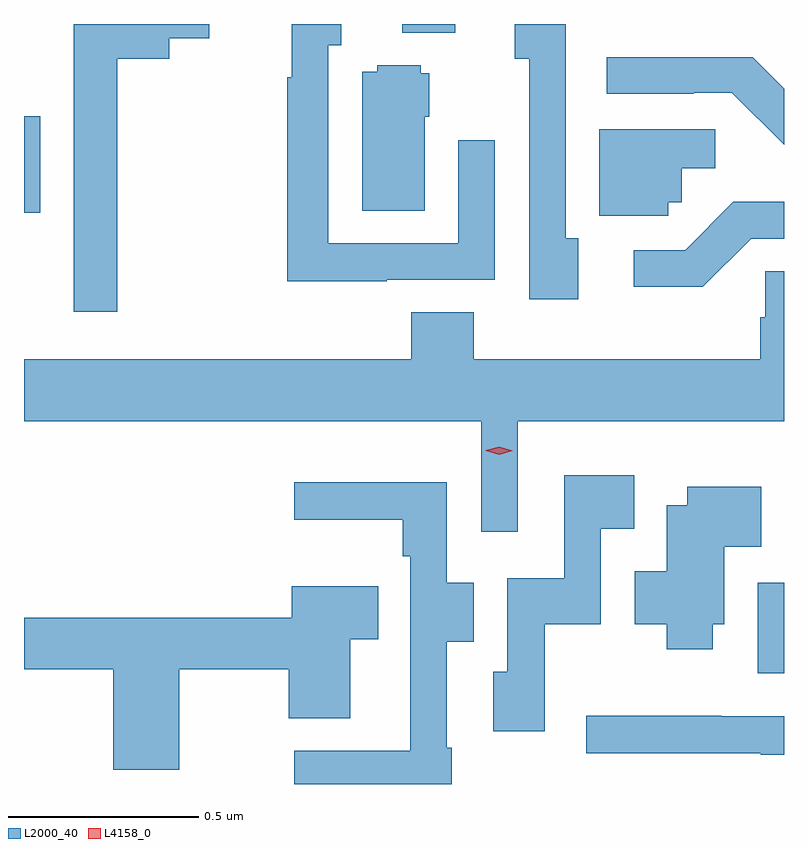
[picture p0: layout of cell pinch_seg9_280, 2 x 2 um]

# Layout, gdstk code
import gdstk
lib = gdstk.Library(unit=1e-6, precision=1e-09)
def R(c, l, rs):  # rectangles x0, y0, x1, y1
    for r in rs: c.add(gdstk.rectangle(r[:2], r[2:], *l))
def P(c, l, *ps):  # polygons
    for p in ps: c.add(gdstk.Polygon(p, *l))
L2000_40 = (2000, 40)
L4158_0 = (4158, 0)

pinch_seg9_280 = lib.new_cell('pinch_seg9_280')
R(pinch_seg9_280, L2000_40, [(412.343,1167.785,412.412,1168.024), (410.412,1168.997,410.455,1169.251), (411.407,1169.471,411.547,1169.494)])
P(pinch_seg9_280, L2000_40, [(411.871,1168.93),(411.837,1168.93),(411.837,1169.494),(411.704,1169.494),(411.704,1169.402),(411.741,1169.402),(411.741,1168.77),(411.871,1168.77)],
  [(410.657,1169.402),(410.794,1169.402),(410.794,1169.456),(410.899,1169.456),(410.899,1169.494),(410.543,1169.494),(410.543,1168.737),(410.657,1168.737)],
  [(411.367,1168.821),(411.651,1168.821),(411.651,1169.188),(411.555,1169.188),(411.555,1168.917),(411.213,1168.917),(411.213,1169.438),(411.247,1169.438),(411.247,1169.494),(411.116,1169.494),(411.116,1169.354),(411.105,1169.354),(411.105,1168.817),(411.367,1168.817)],
  [(412.412,1169.324),(412.33,1169.406),(411.945,1169.406),(411.945,1169.31),(412.175,1169.31),(412.175,1169.313),(412.275,1169.313),(412.412,1169.176)],
  [(411.466,1169.25),(411.478,1169.25),(411.478,1169.364),(411.456,1169.364),(411.456,1169.386),(411.342,1169.386),(411.342,1169.368),(411.302,1169.368),(411.302,1169.002),(411.466,1169.002)],
  [(412.107,1169.025),(412.143,1169.025),(412.143,1169.114),(412.231,1169.114),(412.231,1169.217),(411.926,1169.217),(411.926,1168.989),(412.107,1168.989)],
  [(412.326,1168.929),(412.412,1168.929),(412.412,1169.026),(412.279,1169.026),(412.152,1168.899),(412.017,1168.899),(412.017,1168.802),(412.198,1168.802)],
  [(411.711,1168.448),(412.412,1168.448),(412.412,1168.844),(412.363,1168.844),(412.363,1168.722),(412.349,1168.722),(412.349,1168.612),(411.596,1168.612),(411.596,1168.736),(411.431,1168.736),(411.431,1168.612),(410.412,1168.612),(410.412,1168.448),(411.615,1168.448),(411.615,1168.158),(411.711,1168.158)],
  [(411.783,1167.914),(411.93,1167.914),(411.93,1168.166),(412.018,1168.166),(412.018,1168.306),(411.834,1168.306),(411.834,1168.036),(411.684,1168.036),(411.684,1167.789),(411.647,1167.789),(411.647,1167.633),(411.783,1167.633)],
  [(411.538,1167.589),(411.525,1167.589),(411.525,1167.868),(411.595,1167.868),(411.595,1168.023),(411.525,1168.023),(411.525,1168.288),(411.123,1168.288),(411.123,1168.19),(411.409,1168.19),(411.409,1168.094),(411.429,1168.094),(411.429,1167.779),(411.428,1167.779),(411.428,1167.582),(411.123,1167.582),(411.123,1167.494),(411.538,1167.494)],
  [(412.225,1167.914),(412.255,1167.914),(412.255,1168.118),(412.352,1168.118),(412.352,1168.276),(412.157,1168.276),(412.157,1168.228),(412.103,1168.228),(412.103,1168.054),(412.019,1168.054),(412.019,1167.914),(412.103,1167.914),(412.103,1167.848),(412.225,1167.848)],
  [(410.82,1167.796),(411.109,1167.796),(411.109,1167.667),(411.271,1167.667),(411.271,1167.875),(411.344,1167.875),(411.344,1168.015),(411.116,1168.015),(411.116,1167.932),(410.412,1167.932),(410.412,1167.796),(410.647,1167.796),(410.647,1167.531),(410.82,1167.531)],
  [(412.412,1167.672),(412.247,1167.672),(412.247,1167.673),(411.891,1167.673),(411.891,1167.575),(412.351,1167.575),(412.351,1167.571),(412.412,1167.571)])
P(pinch_seg9_280, L4158_0, [(411.663,1168.361),(411.627,1168.371),(411.627,1168.372),(411.627,1168.372),(411.663,1168.381),(411.698,1168.371),(411.698,1168.371),(411.698,1168.371)])

lib.write_gds('pinch_seg9_280.gds')
